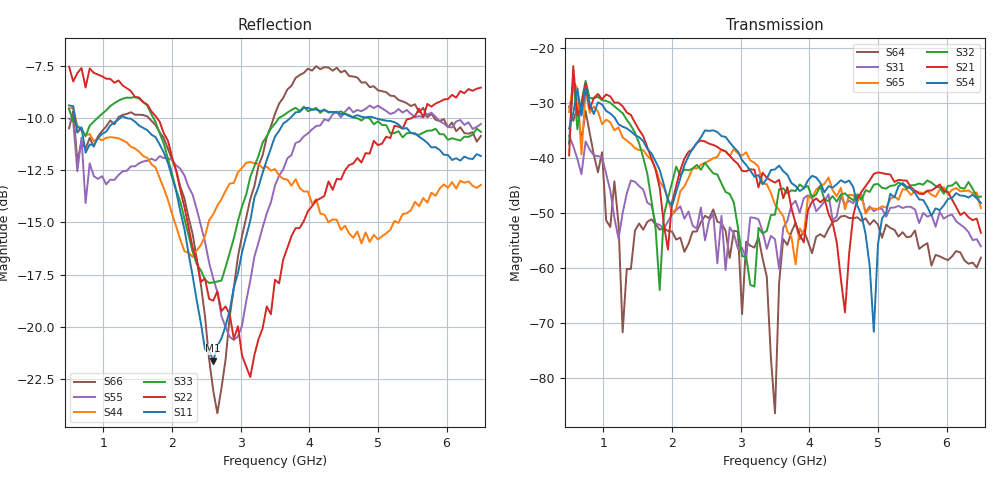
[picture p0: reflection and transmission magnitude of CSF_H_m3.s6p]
!Keysight Technologies,M9804A,MY58100912,A.14.10.03
!Date: Thursday, April 27, 2023 10:28:33
!Correction: S11(C  6-Port  )
!S12(C  6-Port  )
!S13(C  6-Port  )
!S14(C  6-Port  )
!S15(C  6-Port  )
!S16(C  6-Port  )
!S21(C  6-Port  )
!S22(C  6-Port  )
!S23(C  6-Port  )
!S24(C  6-Port  )
!S25(C  6-Port  )
!S26(C  6-Port  )
!S31(C  6-Port  )
!S32(C  6-Port  )
!S33(C  6-Port  )
!S34(C  6-Port  )
!S35(C  6-Port  )
!S36(C  6-Port  )
!S41(C  6-Port  )
!S42(C  6-Port  )
!S43(C  6-Port  )
!S44(C  6-Port  )
!S45(C  6-Port  )
!S46(C  6-Port  )
!S51(C  6-Port  )
!S52(C  6-Port  )
!S53(C  6-Port  )
!S54(C  6-Port  )
!S55(C  6-Port  )
!S56(C  6-Port  )
!S61(C  6-Port  )
!S62(C  6-Port  )
!S63(C  6-Port  )
!S64(C  6-Port  )
!S65(C  6-Port  )
!S66(C  6-Port  )
!S6P File: Measurement: :
# Hz S  RI  R 50
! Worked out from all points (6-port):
!   101 points, 500 MHz to 6.5 GHz, reference 50 ohm
!   strongest paths, dB at 500 MHz, 2 GHz, 3.5 GHz, 5 GHz, 6.5 GHz:
!     S54: -34.6, -48.7, -42.0, -55.7, -48.1
!     S21: -39.5, -48.0, -44.4, -42.6, -53.6
!     S32: -37.3, -44.5, -50.3, -44.7, -47.0
!     S65: -31.6, -50.1, -48.4, -49.3, -49.0
!     S31: -35.9, -50.3, -54.8, -49.2, -56.0
!     S64: -30.6, -53.4, -86.4, -52.1, -58.1
!   lowest |S11| = -21.6 dB at 2.6 GHz (marker M1), VSWR 1.18, Z = 42.6 + j2.04 ohm
!   |S11| at or under -10 dB: 587.7 MHz to 1.24 GHz (652.2 MHz wide, 71.4 % of centre); 1.365 GHz to 3.716 GHz (2.351 GHz wide, 92.5 % of centre); 4.975 GHz to end of sweep
